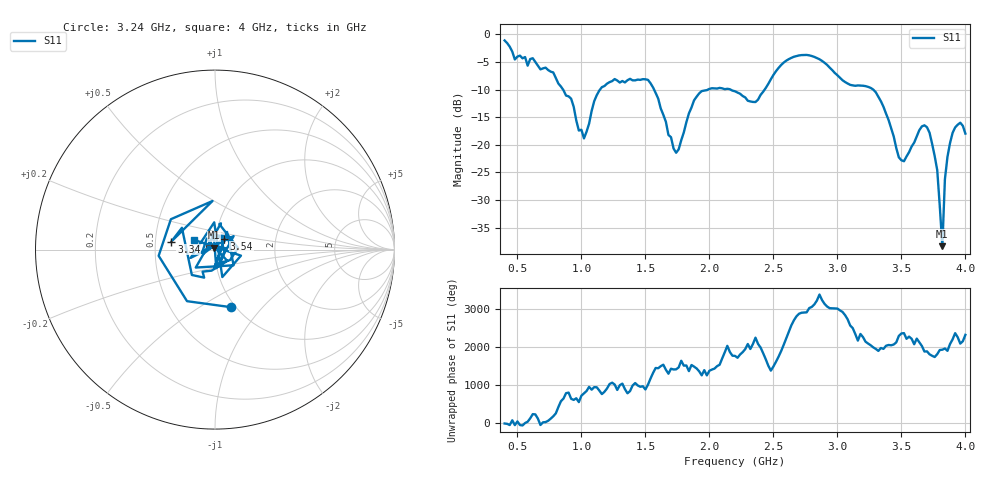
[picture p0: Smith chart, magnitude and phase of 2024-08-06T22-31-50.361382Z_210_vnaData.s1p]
!Created with skrf (http://scikit-rf.org).
# Hz S RI R 50.0
!freq ReS11 ImS11
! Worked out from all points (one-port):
!   181 points, 400 MHz to 4 GHz, reference 50 ohm
!   lowest |S11| = -38.3 dB at 3.82 GHz (marker M1), VSWR 1.02, Z = 49.3 + j0.983 ohm
!   |S11| at or under -10 dB: 856.1 MHz to 1.146 GHz (289.9 MHz wide, 29 % of centre); 1.567 GHz to 1.99 GHz (422.6 MHz wide, 23.8 % of centre); 3.279 GHz to end of sweep (the widest 3 of 4)
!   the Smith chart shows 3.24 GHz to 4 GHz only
!   S11 on the Smith chart (normalised r, x): 3.24 GHz: 0.96, -0.69; 3.34 GHz: 0.61, +0.06; 3.54 GHz: 1.10, +0.13; 4 GHz: 0.79, +0.09
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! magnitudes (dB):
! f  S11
! 400 MHz  -1.1
! 480 MHz  -4.6
! 620 MHz  -4.3
! 860 MHz  -10.1
! 1.02 GHz  -18.8
! 1.14 GHz  -10.2
! 1.3 GHz  -8.7
! 1.52 GHz  -8.3
! 1.72 GHz  -20.7
! 1.76 GHz  -20.8
! 1.92 GHz  -10.7
! 2.2 GHz  -10.3
! 2.36 GHz  -12.3
! 2.66 GHz  -4.1
! 3.1 GHz  -9.2
! 3.24 GHz  -9.5
! 3.34 GHz  -12.1
! 3.48 GHz  -22.3
! 3.54 GHz  -22.1
! 3.56 GHz  -21.3
! 3.66 GHz  -16.7
! 3.72 GHz  -17.8
! 3.78 GHz  -24.6
! 3.82 GHz  -38.3
! 3.84 GHz  -26.2
! 3.88 GHz  -19.7
! 3.96 GHz  -16.0
! 4 GHz  -18.0
